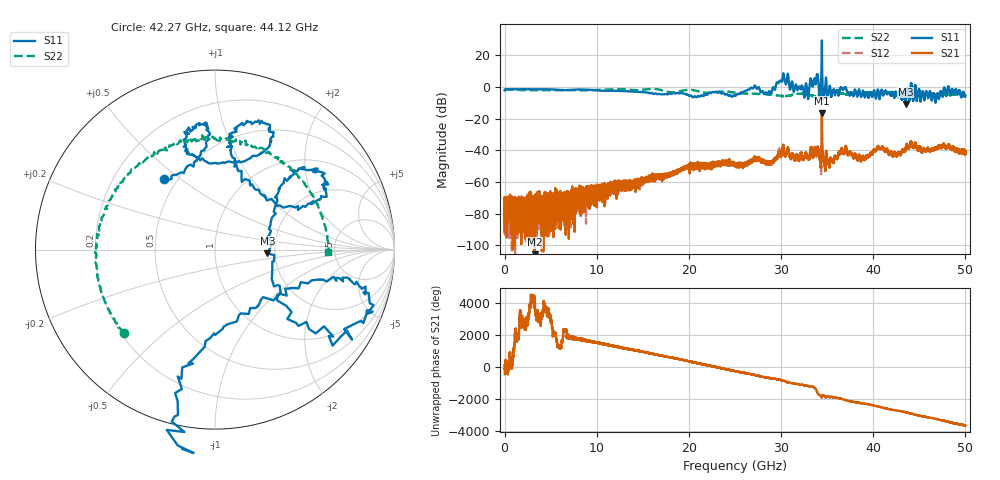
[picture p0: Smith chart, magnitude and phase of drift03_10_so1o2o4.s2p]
!Created with skrf (http://scikit-rf.org).
# Hz S RI R 50.0
!freq ReS11 ImS11 ReS21 ImS21 ReS12 ImS12 ReS22 ImS22
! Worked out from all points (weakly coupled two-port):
!   10000 points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, 5.3 MHz to 50 GHz, reference 50 ohm
!   highest |S21| = -16.35 dB at 34.43 GHz (marker M1); lowest = -109.5 dB at 3.25 GHz (marker M2)
!   lowest |S11| = -10.7 dB at 43.53 GHz (marker M3), VSWR 1.83, Z = 91.2 - j4.3 ohm
!   |S11| at or under -10 dB: 43.50859 GHz to 43.51859 GHz (9.999 MHz wide, 0.023 % of centre); 43.52238 GHz to 43.53306 GHz (10.68 MHz wide, 0.0245 % of centre)
!   |S22| runs from -5.8 to -1.1 dB; largest |S21 - S12| = 0.038
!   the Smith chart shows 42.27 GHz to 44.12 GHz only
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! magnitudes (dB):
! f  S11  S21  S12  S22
! 5.3 MHz  -2.1  -92.0  -81.6  -1.3
! 3.25 GHz  -1.4  -109.5  -75.5  -2.0
! 8.34 GHz  -1.5  -65.2  -71.8  -2.1
! 16.67 GHz  -4.4  -55.9  -56.1  -1.5
! 20.33 GHz  -5.9  -49.8  -50.1  -1.8
! 25.01 GHz  -5.5  -49.8  -48.9  -3.5
! 27.02 GHz  -0.4  -45.2  -45.9  -4.2
! 28.72 GHz  -2.5  -47.5  -47.5  -4.6
! 30.14 GHz  4.4  -39.7  -40.5  -5.7
! 32.74 GHz  2.0  -42.0  -42.3  -4.6
! 33.34 GHz  2.5  -40.4  -40.2  -5.5
! 33.82 GHz  3.9  -41.5  -42.4  -5.7
! 34.43 GHz  29.5  -16.3  -18.2  -4.6
! 35.28 GHz  0.3  -50.0  -47.8  -3.4
! 36.82 GHz  -1.1  -42.2  -42.1  -4.3
! 38.88 GHz  -2.3  -44.5  -43.8  -3.2
! 40.61 GHz  -4.7  -38.1  -38.5  -4.1
! 41.67 GHz  -3.4  -42.6  -42.5  -3.4
! 43.53 GHz  -10.7  -38.1  -38.9  -4.1
! 46.94 GHz  -4.3  -38.6  -38.6  -4.8
! 47.64 GHz  -1.6  -37.3  -36.5  -4.7
! 50 GHz  -5.3  -42.0  -41.1  -4.6
